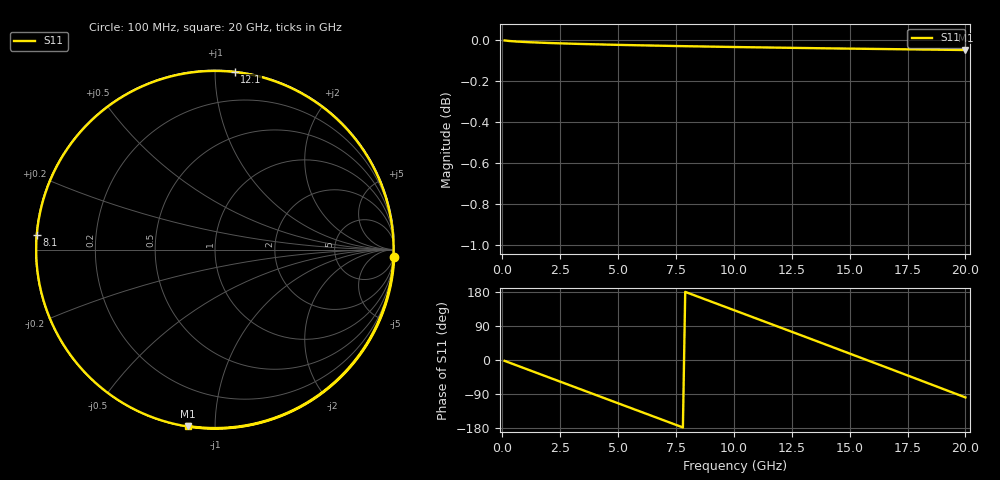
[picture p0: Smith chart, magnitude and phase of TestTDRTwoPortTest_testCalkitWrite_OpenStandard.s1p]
! File created by SignalIntegrity v1.1.13: Signal and Power Integrity Tools
! https://github.com/TeledyneLeCroy/SignalIntegrity
# MHz S MA R 50.0
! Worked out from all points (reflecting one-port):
!   200 points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, 100 MHz to 20 GHz, reference 50 ohm
!   lowest |S11| = 0.0 dB at 20 GHz (marker M1), VSWR 347.86, Z = 0.249 - j42.9 ohm
!   phase of S11 starts at -2 deg and turns -456 deg over the sweep
!   S11 on the Smith chart (normalised r, x): 100 MHz: 0, -50; 8.1 GHz: 0.00, +0.04; 12.1 GHz: 0.01, +1.12; 20 GHz: 0.00, -0.86
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100  0.9996 -2.3
700  0.9989 -16.0
1300  0.9985 -29.8
2600  0.9979 -59.4
3300  0.9977 -75.4
3900  0.9975 -89.1
4500  0.9973 -102.8
5100  0.9971 -116.4
6400  0.9968 -146.1
7000  0.9966 -159.7
7600  0.9965 -173.4
8100  0.9963 175.2
9100  0.9961 152.3
10100  0.9959 129.5
11100  0.9957 106.6
12100  0.9955 83.7
12600  0.9954 72.3
13200  0.9953 58.5
13900  0.9952 42.4
14500  0.9951 28.6
15100  0.995 14.8
15700  0.9949 1.0
16300  0.9948 -12.9
16900  0.9947 -26.8
17600  0.9946 -43.0
18800  0.9944 -70.8
19400  0.9944 -84.8
20000  0.9943 -98.8
